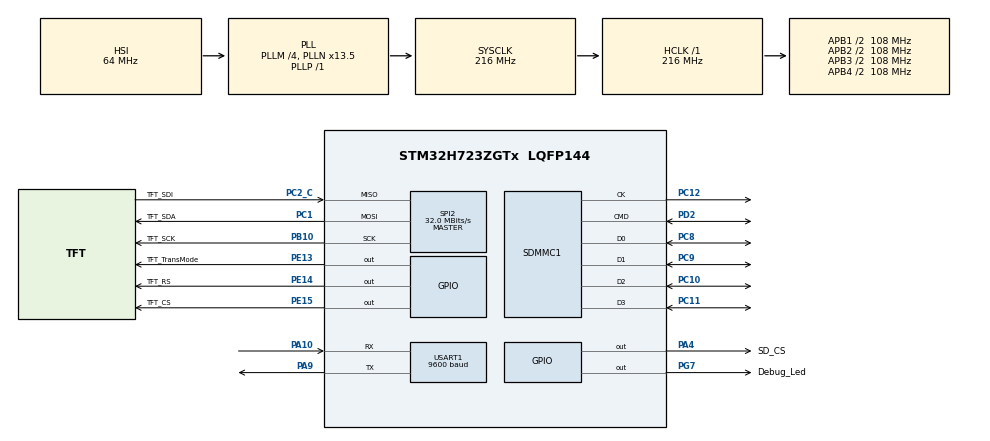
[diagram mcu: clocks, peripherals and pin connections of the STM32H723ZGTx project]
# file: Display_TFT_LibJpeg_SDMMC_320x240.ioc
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CORTEX_M7.default_mode_Activation=1
DMA2D.ColorMode=DMA2D_OUTPUT_RGB565
DMA2D.InputColorModeForeground=DMA2D_INPUT_RGB888
DMA2D.Mode=DMA2D_M2M_PFC
DMA2D.RedBlueSwapForeground=DMA2D_RB_REGULAR
Dma.Request0=SPI2_TX
Dma.SPI2_TX.0.Direction=DMA_MEMORY_TO_PERIPH
Dma.SPI2_TX.0.EventEnable=DISABLE
Dma.SPI2_TX.0.FIFOMode=DMA_FIFOMODE_DISABLE
Dma.SPI2_TX.0.Instance=DMA1_Stream3
Dma.SPI2_TX.0.MemDataAlignment=DMA_MDATAALIGN_BYTE
Dma.SPI2_TX.0.MemInc=DMA_MINC_ENABLE
Dma.SPI2_TX.0.Mode=DMA_NORMAL
Dma.SPI2_TX.0.PeriphDataAlignment=DMA_PDATAALIGN_BYTE
Dma.SPI2_TX.0.PeriphInc=DMA_PINC_DISABLE
Dma.SPI2_TX.0.Polarity=HAL_DMAMUX_REQ_GEN_RISING
Dma.SPI2_TX.0.Priority=DMA_PRIORITY_LOW
Dma.SPI2_TX.0.RequestNumber=1
Dma.SPI2_TX.0.SignalID=NONE
Dma.SPI2_TX.0.SyncEnable=DISABLE
Dma.SPI2_TX.0.SyncPolarity=HAL_DMAMUX_SYNC_NO_EVENT
Dma.SPI2_TX.0.SyncRequestNumber=1
Dma.SPI2_TX.0.SyncSignalID=NONE
FATFS._FS_TIMEOUT=10000
FATFS._MAX_SS=4096
FATFS._MULTI_PARTITION=0
FATFS._USE_CHMOD=0
FATFS._USE_LABEL=1
FATFS._USE_LFN=3
LIBJPEG.RGB_ORDERING=BGR
Mcu.Family=STM32H7
Mcu.Name=STM32H723ZGTx
Mcu.Package=LQFP144
NVIC.DMA1_Stream3_IRQn=true\:0\:0\:false\:false\:true\:false\:true\:true
NVIC.PriorityGroup=NVIC_PRIORITYGROUP_4
NVIC.SDMMC1_IRQn=true\:0\:0\:false\:false\:true\:true\:true\:true
NVIC.SPI2_IRQn=true\:0\:0\:false\:false\:true\:false\:true\:true
PA10.Mode=Asynchronous
PA10.Signal=USART1_RX
PA13(JTMS/SWDIO).Mode=Serial_Wire
PA13(JTMS/SWDIO).Signal=DEBUG_JTMS-SWDIO
PA14(JTCK/SWCLK).Mode=Serial_Wire
PA14(JTCK/SWCLK).Signal=DEBUG_JTCK-SWCLK
PA4.GPIO_Label=SD_CS
PA4.PinState=GPIO_PIN_SET
PA4.Signal=GPIO_Output
PA9.Mode=Asynchronous
PA9.Signal=USART1_TX
PB10.GPIO_Label=TFT_SCK
PB10.Mode=Full_Duplex_Master
PB10.Signal=SPI2_SCK
PC1.GPIO_Label=TFT_SDA
PC1.Mode=Full_Duplex_Master
PC1.Signal=SPI2_MOSI
PC10.Mode=SD_4_bits_Wide_bus
PC10.Signal=SDMMC1_D2
PC11.Mode=SD_4_bits_Wide_bus
PC11.Signal=SDMMC1_D3
PC12.Mode=SD_4_bits_Wide_bus
PC12.Signal=SDMMC1_CK
PC2_C.GPIO_Label=TFT_SDI
PC2_C.Mode=Full_Duplex_Master
PC2_C.Signal=SPI2_MISO
PC8.Mode=SD_4_bits_Wide_bus
PC8.Signal=SDMMC1_D0
PC9.Mode=SD_4_bits_Wide_bus
PC9.Signal=SDMMC1_D1
PD2.Mode=SD_4_bits_Wide_bus
PD2.Signal=SDMMC1_CMD
PE13.GPIO_Label=TFT_TransMode
PE13.Signal=GPIO_Output
PE14.GPIO_Label=TFT_RS
PE14.Signal=GPIO_Output
PE15.GPIO_Label=TFT_CS
PE15.Signal=GPIO_Output
PG7.GPIO_Label=Debug_Led
PG7.Signal=GPIO_Output
PH0-OSC_IN.Mode=HSE-External-Oscillator
PH0-OSC_IN.Signal=RCC_OSC_IN
PH1-OSC_OUT.Mode=HSE-External-Oscillator
PH1-OSC_OUT.Signal=RCC_OSC_OUT
ProjectManager.HeapSize=0x200
ProjectManager.StackSize=0x400
ProjectManager.TargetToolchain=STM32CubeIDE
RCC.ADCFreq_Value=96000000
RCC.APB1Freq_Value=108000000
RCC.APB2Freq_Value=108000000
RCC.APB3Freq_Value=108000000
RCC.APB4Freq_Value=108000000
RCC.CortexFreq_Value=216000000
RCC.D1PPRE=RCC_APB3_DIV2
RCC.D2PPRE1=RCC_APB1_DIV2
RCC.D2PPRE2=RCC_APB2_DIV2
RCC.D3PPRE=RCC_APB4_DIV2
RCC.DIVM1=4
RCC.DIVM2=4
RCC.DIVM3=4
RCC.DIVN1=13
RCC.DIVN2=12
RCC.DIVN3=12
RCC.DIVP1=1
RCC.DIVQ1=6
RCC.DIVR2=1
RCC.HCLKFreq_Value=216000000
RCC.PLL2FRACN=0
RCC.PLL3FRACN=0
RCC.PLLFRACN=4096
RCC.SPI123CLockSelection=RCC_SPI123CLKSOURCE_CLKP
RCC.SYSCLKFreq_VALUE=216000000
RCC.SYSCLKSource=RCC_SYSCLKSOURCE_PLLCLK
RCC.USBFreq_Value=36000000
SDMMC1.ClockDiv=3
SPI2.BaudRatePrescaler=SPI_BAUDRATEPRESCALER_2
SPI2.CalculateBaudRate=32.0 MBits/s
SPI2.DataSize=SPI_DATASIZE_8BIT
SPI2.Direction=SPI_DIRECTION_2LINES
SPI2.FirstBit=SPI_FIRSTBIT_MSB
SPI2.Mode=SPI_MODE_MASTER
SPI2.NSSPMode=SPI_NSS_PULSE_DISABLE
SPI2.VirtualType=VM_MASTER
USART1.BaudRate=9600
USART1.VirtualMode-Asynchronous=VM_ASYNC
VP_DMA2D_VS_DMA2D.Mode=DMA2D_Activate
VP_FATFS_VS_Generic.Mode=User_defined
VP_FATFS_VS_SDIO.Mode=SDIO
VP_LIBJPEG_VS_JPEGLIB.Mode=Enabled
VP_MEMORYMAP_VS_MEMORYMAP.Mode=CurAppReg
board=custom

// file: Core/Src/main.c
/* USER CODE BEGIN Header */
/**
 ******************************************************************************
 * @file           : main.c
 * @brief          : Main program body
 ******************************************************************************
 * @attention
 *
 * Copyright (c) 2025 STMicroelectronics.
 * All rights reserved.
 *
 * This software is licensed under terms that can be found in the LICENSE file
 * in the root directory of this software component.
 * If no LICENSE file comes with this software, it is provided AS-IS.
 *
 ******************************************************************************
 */
/* USER CODE END Header */
#include "main.h"
#include "fatfs.h"
#include "libjpeg.h"

/* USER CODE BEGIN Includes */
#include <setjmp.h>
#include "display.h"
#include "sdio_functions.h"
/* USER CODE END Includes */

DMA2D_HandleTypeDef hdma2d;

SD_HandleTypeDef hsd1;

SPI_HandleTypeDef hspi2;
DMA_HandleTypeDef hdma_spi2_tx;

UART_HandleTypeDef huart1;

/* USER CODE BEGIN PV */
uint8_t IsPlayingContent = 0;
extern uint16_t frame_buffer[240][320];

extern int dma_tx_done_spi2;
extern int dma_rx_done_spi2;

/* USER CODE END PV */

void SystemClock_Config(void);
void PeriphCommonClock_Config(void);
static void MPU_Config(void);
static void MX_GPIO_Init(void);
static void MX_DMA_Init(void);
static void MX_SPI2_Init(void);
static void MX_SDMMC1_SD_Init(void);
static void MX_USART1_UART_Init(void);
static void MX_DMA2D_Init(void);

/* USER CODE BEGIN 0 */
///////HARDWARE LIBJPEG
struct my_error_mgr {
	struct jpeg_error_mgr pub; /* "public" fields */

	jmp_buf setjmp_buffer; /* for return to caller */
};

typedef struct my_error_mgr *my_error_ptr;

/*
 * Here's the routine that will replace the standard error_exit method:
 */

METHODDEF(void) my_error_exit(j_common_ptr cinfo) {
	/* cinfo->err really points to a my_error_mgr struct, so coerce pointer */
	my_error_ptr myerr = (my_error_ptr) cinfo->err;

	/* Always display the message. */
	/* We could postpone this until after returning, if we chose. */
	(*cinfo->err->output_message)(cinfo);

	/* Return control to the setjmp point */
	longjmp(myerr->setjmp_buffer, 1);
}

GLOBAL(int) read_JPEG_file(char *filename) {
	struct jpeg_decompress_struct cinfo;
	struct my_error_mgr jerr;
	/* More stuff */
	FIL infile; /* source file */
	JSAMPARRAY buffer; /* Output row buffer */
	int row_stride; /* physical row width in output buffer */

	if ((f_open(&infile, filename, FA_READ)) != FR_OK) {
		//fprintf(stderr, "can't open %s\n", filename);
		return 0;
	}

	/* Step 1: allocate and initialize JPEG decompression object */

	cinfo.err = jpeg_std_error(&jerr.pub);
	jerr.pub.error_exit = my_error_exit;

	if (setjmp(jerr.setjmp_buffer)) {

		jpeg_destroy_decompress(&cinfo);
		f_close(&infile);
		return 0;
	}

	jpeg_create_decompress(&cinfo);

	/* Step 2: specify data source (eg, a file) */

	jpeg_stdio_src(&cinfo, &infile);

	/* Step 3: read file parameters with jpeg_read_header() */

	(void) jpeg_read_header(&cinfo, TRUE);

	/* Step 4: set parameters for decompression */
	/* Step 5: Start decompressor */

	(void) jpeg_start_decompress(&cinfo);

	row_stride = cinfo.output_width * cinfo.output_components;

	buffer = (*cinfo.mem->alloc_sarray)((j_common_ptr) &cinfo, JPOOL_IMAGE,
			row_stride, 1);

	/* Step 6: while (scan lines remain to be read) */
	/*           jpeg_read_scanlines(...); */
	uint16_t line = 0;
	HAL_StatusTypeDef status;
	while (cinfo.output_scanline < cinfo.output_height) {

		(void) jpeg_read_scanlines(&cinfo, buffer, 1);
		//put_scanline_someplace(buffer[0], row_stride);
		HAL_DMA2D_Start(&hdma2d, (uint32_t) buffer[0], frame_buffer[line], 320, 1);
		for (int i = 0; i < 320; i++) {
			frame_buffer[line][i]   =  __REV16(frame_buffer[line][i]);
		}

		HAL_DMA2D_PollForTransfer(&hdma2d, HAL_MAX_DELAY);

		line++;
	}

	/* Step 7: Finish decompression */

	(void) jpeg_finish_decompress(&cinfo);

	/* Step 8: Release JPEG decompression object */

	jpeg_destroy_decompress(&cinfo);

	f_close(&infile);

	return 1;
}

////////////////////////////////////
int _write(int fd, unsigned char *buf, int len) {
	if (fd == 1 || fd == 2) {                              // stdout or stderr ?
		HAL_UART_Transmit(&huart1, buf, len, 999); // Print to the UART
	}
	return len;
}
uint32_t FPS = 0;
/* USER CODE END 0 */

int main(void)
{

  /* USER CODE BEGIN 1 */
	FIL video_f;
	UINT br;
	uint32_t frame_num = 0;
	//for(int i = 0; i < 240 ; i++){
	//}
  /* USER CODE END 1 */

  /* MPU Configuration--------------------------------------------------------*/
  MPU_Config();

  /* MCU Configuration--------------------------------------------------------*/

  /* Reset of all peripherals, Initializes the Flash interface and the Systick. */
  HAL_Init();

  /* Configure the system clock */
  SystemClock_Config();

  /* Configure the peripherals common clocks */
  PeriphCommonClock_Config();

  /* Initialize all configured peripherals */
  MX_GPIO_Init();
  MX_DMA_Init();
  MX_FATFS_Init();
  MX_SPI2_Init();
  MX_LIBJPEG_Init();
  MX_SDMMC1_SD_Init();
  MX_USART1_UART_Init();
  MX_DMA2D_Init();
  /* USER CODE BEGIN 2 */
	LCD_Init(&hspi2, &IsPlayingContent, 1);
	LCD_AdjustGamma();
	LCD_FillScreen(0x0000, 320, 240);
	HAL_Delay(3000);
	//    sd_benchmark();
	uint32_t start_time = 0;
	uint32_t end_time = 0;
	uint32_t period = 0;
	char file_name[100];
	while (1) {
		if (sd_mount() == FR_OK) {
			break;
		}
	}

#define JPEG

#ifdef VIDEO_1
	while (1) {
		if (f_open(&video_f, "family_guy_rgb565_120s_be_320x240.rgb", FA_READ)
				== FR_OK) {
			break;
		}
	}
	while (1) {
		start_time = HAL_GetTick();
		if (!Raw_play_video(&video_f, &frame_num)) {
			HAL_Delay(2000);
			FillScreen(0xf800, 320, 240);
			f_close(&video_f);
			while (1) {
				if (f_open(&video_f, "family_guy_rgb565_120s_be_320x240.rgb",
						FA_READ) == FR_OK) {
					break;
				}
			}
			frame_num = 0;
			// break;
		}
		end_time = HAL_GetTick();
		period = end_time - start_time;
		FPS = 1000 / period;
	}
#endif

#ifdef VIDEO_2
    uint8_t t = 200;
    while (1)
    {
        if (f_open(&video_f, "FamilyGuy_noAudio.avi", FA_READ) == FR_OK)
        {
            break;
        }
    }
    while (1)
    {
        start_time = HAL_GetTick();
        AVI_video_display(&video_f);
        end_time = HAL_GetTick();
        period = end_time - start_time;
        FPS = 1000 / period;
    }
#endif

#if DISPLAY_BMP_888
    Display_BMP_picture("image1_rgb888le_320x240.bmp");
#endif

#ifdef JPEG

	uint8_t image_id = 1;
	sprintf(file_name, "image%d_320x240.jpg", image_id);

#endif
//	sd_unmount();
  /* USER CODE END 2 */

  /* Infinite loop */
  /* USER CODE BEGIN WHILE */
	while (1) {
#ifdef JPEG
		sprintf(file_name, "image%d_320x240.jpg", image_id);
//		start_time = HAL_GetTick();
		// Software decompress
        LCD_DisplayJPEG(file_name);
//		end_time = HAL_GetTick();
//		period = end_time - start_time;
//		printf("Software JPG decode: %d, \n", period);
//		start_time = 0;
//		end_time = 0;
//		period = 0;
//        // Hardware decompress
//		start_time = HAL_GetTick();
//    	read_JPEG_file(file_name);
//    	LCD_DrawPixData(0, 0, 320, 240, &frame_buffer[0][0]);
//		end_time = HAL_GetTick();
//		period = end_time - start_time;
//		printf("Hardware JPG decode: %d\n", period);

        image_id++;
        if (image_id == 11)
        {
            image_id = 1;
        }
		start_time = 0;
		end_time = 0;
		period = 0;
        HAL_Delay(3000);
#endif
    /* USER CODE END WHILE */

	}
}

void SystemClock_Config(void)
{
  RCC_OscInitTypeDef RCC_OscInitStruct = {0};
  RCC_ClkInitTypeDef RCC_ClkInitStruct = {0};

  /** Supply configuration update enable
  */
  HAL_PWREx_ConfigSupply(PWR_LDO_SUPPLY);

  /** Configure the main internal regulator output voltage
  */
  __HAL_PWR_VOLTAGESCALING_CONFIG(PWR_REGULATOR_VOLTAGE_SCALE0);

  while(!__HAL_PWR_GET_FLAG(PWR_FLAG_VOSRDY)) {}

  /** Initializes the RCC Oscillators according to the specified parameters
  * in the RCC_OscInitTypeDef structure.
  */
  RCC_OscInitStruct.OscillatorType = RCC_OSCILLATORTYPE_HSI;
  RCC_OscInitStruct.HSIState = RCC_HSI_DIV1;
  RCC_OscInitStruct.HSICalibrationValue = 64;
  RCC_OscInitStruct.PLL.PLLState = RCC_PLL_ON;
  RCC_OscInitStruct.PLL.PLLSource = RCC_PLLSOURCE_HSI;
  RCC_OscInitStruct.PLL.PLLM = 4;
  RCC_OscInitStruct.PLL.PLLN = 13;
  RCC_OscInitStruct.PLL.PLLP = 1;
  RCC_OscInitStruct.PLL.PLLQ = 6;
  RCC_OscInitStruct.PLL.PLLR = 2;
  RCC_OscInitStruct.PLL.PLLRGE = RCC_PLL1VCIRANGE_3;
  RCC_OscInitStruct.PLL.PLLVCOSEL = RCC_PLL1VCOWIDE;
  RCC_OscInitStruct.PLL.PLLFRACN = 4096;
  if (HAL_RCC_OscConfig(&RCC_OscInitStruct) != HAL_OK)
  {
    Error_Handler();
  }

  /** Initializes the CPU, AHB and APB buses clocks
  */
  RCC_ClkInitStruct.ClockType = RCC_CLOCKTYPE_HCLK|RCC_CLOCKTYPE_SYSCLK
                              |RCC_CLOCKTYPE_PCLK1|RCC_CLOCKTYPE_PCLK2
                              |RCC_CLOCKTYPE_D3PCLK1|RCC_CLOCKTYPE_D1PCLK1;
  RCC_ClkInitStruct.SYSCLKSource = RCC_SYSCLKSOURCE_PLLCLK;
  RCC_ClkInitStruct.SYSCLKDivider = RCC_SYSCLK_DIV1;
  RCC_ClkInitStruct.AHBCLKDivider = RCC_HCLK_DIV1;
  RCC_ClkInitStruct.APB3CLKDivider = RCC_APB3_DIV2;
  RCC_ClkInitStruct.APB1CLKDivider = RCC_APB1_DIV2;
  RCC_ClkInitStruct.APB2CLKDivider = RCC_APB2_DIV2;
  RCC_ClkInitStruct.APB4CLKDivider = RCC_APB4_DIV2;

  if (HAL_RCC_ClockConfig(&RCC_ClkInitStruct, FLASH_LATENCY_3) != HAL_OK)
  {
    Error_Handler();
  }
}

void PeriphCommonClock_Config(void)
{
  RCC_PeriphCLKInitTypeDef PeriphClkInitStruct = {0};

  /** Initializes the peripherals clock
  */
  PeriphClkInitStruct.PeriphClockSelection = RCC_PERIPHCLK_CKPER;
  PeriphClkInitStruct.CkperClockSelection = RCC_CLKPSOURCE_HSI;
  if (HAL_RCCEx_PeriphCLKConfig(&PeriphClkInitStruct) != HAL_OK)
  {
    Error_Handler();
  }
}

static void MX_DMA2D_Init(void)
{

  hdma2d.Instance = DMA2D;
  hdma2d.Init.Mode = DMA2D_M2M_PFC;
  hdma2d.Init.ColorMode = DMA2D_OUTPUT_RGB565;
  hdma2d.Init.OutputOffset = 0;
  hdma2d.LayerCfg[1].InputOffset = 0;
  hdma2d.LayerCfg[1].InputColorMode = DMA2D_INPUT_RGB888;
  hdma2d.LayerCfg[1].AlphaMode = DMA2D_NO_MODIF_ALPHA;
  hdma2d.LayerCfg[1].InputAlpha = 0;
  hdma2d.LayerCfg[1].AlphaInverted = DMA2D_REGULAR_ALPHA;
  hdma2d.LayerCfg[1].RedBlueSwap = DMA2D_RB_REGULAR;
  hdma2d.LayerCfg[1].ChromaSubSampling = DMA2D_NO_CSS;
  if (HAL_DMA2D_Init(&hdma2d) != HAL_OK)
  {
    Error_Handler();
  }
  if (HAL_DMA2D_ConfigLayer(&hdma2d, 1) != HAL_OK)
  {
    Error_Handler();
  }

}

static void MX_SDMMC1_SD_Init(void)
{

  hsd1.Instance = SDMMC1;
  hsd1.Init.ClockEdge = SDMMC_CLOCK_EDGE_RISING;
  hsd1.Init.ClockPowerSave = SDMMC_CLOCK_POWER_SAVE_DISABLE;
  hsd1.Init.BusWide = SDMMC_BUS_WIDE_4B;
  hsd1.Init.HardwareFlowControl = SDMMC_HARDWARE_FLOW_CONTROL_DISABLE;
  hsd1.Init.ClockDiv = 3;
  if (HAL_SD_Init(&hsd1) != HAL_OK)
  {
    Error_Handler();
  }

}

static void MX_SPI2_Init(void)
{

  /* SPI2 parameter configuration*/
  hspi2.Instance = SPI2;
  hspi2.Init.Mode = SPI_MODE_MASTER;
  hspi2.Init.Direction = SPI_DIRECTION_2LINES;
  hspi2.Init.DataSize = SPI_DATASIZE_8BIT;
  hspi2.Init.CLKPolarity = SPI_POLARITY_LOW;
  hspi2.Init.CLKPhase = SPI_PHASE_1EDGE;
  hspi2.Init.NSS = SPI_NSS_SOFT;
  hspi2.Init.BaudRatePrescaler = SPI_BAUDRATEPRESCALER_2;
  hspi2.Init.FirstBit = SPI_FIRSTBIT_MSB;
  hspi2.Init.TIMode = SPI_TIMODE_DISABLE;
  hspi2.Init.CRCCalculation = SPI_CRCCALCULATION_DISABLE;
  hspi2.Init.CRCPolynomial = 0x0;
  hspi2.Init.NSSPMode = SPI_NSS_PULSE_DISABLE;
  hspi2.Init.NSSPolarity = SPI_NSS_POLARITY_LOW;
  hspi2.Init.FifoThreshold = SPI_FIFO_THRESHOLD_01DATA;
  hspi2.Init.TxCRCInitializationPattern = SPI_CRC_INITIALIZATION_ALL_ZERO_PATTERN;
  hspi2.Init.RxCRCInitializationPattern = SPI_CRC_INITIALIZATION_ALL_ZERO_PATTERN;
  hspi2.Init.MasterSSIdleness = SPI_MASTER_SS_IDLENESS_00CYCLE;
  hspi2.Init.MasterInterDataIdleness = SPI_MASTER_INTERDATA_IDLENESS_00CYCLE;
  hspi2.Init.MasterReceiverAutoSusp = SPI_MASTER_RX_AUTOSUSP_DISABLE;
  hspi2.Init.MasterKeepIOState = SPI_MASTER_KEEP_IO_STATE_DISABLE;
  hspi2.Init.IOSwap = SPI_IO_SWAP_DISABLE;
  if (HAL_SPI_Init(&hspi2) != HAL_OK)
  {
    Error_Handler();
  }

}

static void MX_USART1_UART_Init(void)
{

  huart1.Instance = USART1;
  huart1.Init.BaudRate = 9600;
  huart1.Init.WordLength = UART_WORDLENGTH_8B;
  huart1.Init.StopBits = UART_STOPBITS_1;
  huart1.Init.Parity = UART_PARITY_NONE;
  huart1.Init.Mode = UART_MODE_TX_RX;
  huart1.Init.HwFlowCtl = UART_HWCONTROL_NONE;
  huart1.Init.OverSampling = UART_OVERSAMPLING_16;
  huart1.Init.OneBitSampling = UART_ONE_BIT_SAMPLE_DISABLE;
  huart1.Init.ClockPrescaler = UART_PRESCALER_DIV1;
  huart1.AdvancedInit.AdvFeatureInit = UART_ADVFEATURE_NO_INIT;
  if (HAL_UART_Init(&huart1) != HAL_OK)
  {
    Error_Handler();
  }
  if (HAL_UARTEx_SetTxFifoThreshold(&huart1, UART_TXFIFO_THRESHOLD_1_8) != HAL_OK)
  {
    Error_Handler();
  }
  if (HAL_UARTEx_SetRxFifoThreshold(&huart1, UART_RXFIFO_THRESHOLD_1_8) != HAL_OK)
  {
    Error_Handler();
  }
  if (HAL_UARTEx_DisableFifoMode(&huart1) != HAL_OK)
  {
    Error_Handler();
  }

}

static void MX_DMA_Init(void)
{

  /* DMA controller clock enable */
  __HAL_RCC_DMA1_CLK_ENABLE();

  /* DMA interrupt init */
  /* DMA1_Stream3_IRQn interrupt configuration */
  HAL_NVIC_SetPriority(DMA1_Stream3_IRQn, 0, 0);
  HAL_NVIC_EnableIRQ(DMA1_Stream3_IRQn);

}

static void MX_GPIO_Init(void)
{
  GPIO_InitTypeDef GPIO_InitStruct = {0};

  /* GPIO Ports Clock Enable */
  __HAL_RCC_GPIOH_CLK_ENABLE();
  __HAL_RCC_GPIOC_CLK_ENABLE();
  __HAL_RCC_GPIOA_CLK_ENABLE();
  __HAL_RCC_GPIOE_CLK_ENABLE();
  __HAL_RCC_GPIOB_CLK_ENABLE();
  __HAL_RCC_GPIOG_CLK_ENABLE();
  __HAL_RCC_GPIOD_CLK_ENABLE();

  /*Configure GPIO pin Output Level */
  HAL_GPIO_WritePin(SD_CS_GPIO_Port, SD_CS_Pin, GPIO_PIN_SET);

  /*Configure GPIO pin Output Level */
  HAL_GPIO_WritePin(GPIOE, TFT_TransMode_Pin|TFT_RS_Pin|TFT_CS_Pin, GPIO_PIN_RESET);

  /*Configure GPIO pin Output Level */
  HAL_GPIO_WritePin(Debug_Led_GPIO_Port, Debug_Led_Pin, GPIO_PIN_RESET);

  /*Configure GPIO pin : SD_CS_Pin */
  GPIO_InitStruct.Pin = SD_CS_Pin;
  GPIO_InitStruct.Mode = GPIO_MODE_OUTPUT_PP;
  GPIO_InitStruct.Pull = GPIO_NOPULL;
  GPIO_InitStruct.Speed = GPIO_SPEED_FREQ_LOW;
  HAL_GPIO_Init(SD_CS_GPIO_Port, &GPIO_InitStruct);

  /*Configure GPIO pins : TFT_TransMode_Pin TFT_RS_Pin TFT_CS_Pin */
  GPIO_InitStruct.Pin = TFT_TransMode_Pin|TFT_RS_Pin|TFT_CS_Pin;
  GPIO_InitStruct.Mode = GPIO_MODE_OUTPUT_PP;
  GPIO_InitStruct.Pull = GPIO_NOPULL;
  GPIO_InitStruct.Speed = GPIO_SPEED_FREQ_LOW;
  HAL_GPIO_Init(GPIOE, &GPIO_InitStruct);

  /*Configure GPIO pin : Debug_Led_Pin */
  GPIO_InitStruct.Pin = Debug_Led_Pin;
  GPIO_InitStruct.Mode = GPIO_MODE_OUTPUT_PP;
  GPIO_InitStruct.Pull = GPIO_NOPULL;
  GPIO_InitStruct.Speed = GPIO_SPEED_FREQ_LOW;
  HAL_GPIO_Init(Debug_Led_GPIO_Port, &GPIO_InitStruct);

}

 /* MPU Configuration */

void MPU_Config(void)
{
  MPU_Region_InitTypeDef MPU_InitStruct = {0};

  /* Disables the MPU */
  HAL_MPU_Disable();

  /** Initializes and configures the Region and the memory to be protected
  */
  MPU_InitStruct.Enable = MPU_REGION_ENABLE;
  MPU_InitStruct.Number = MPU_REGION_NUMBER0;
  MPU_InitStruct.BaseAddress = 0x0;
  MPU_InitStruct.Size = MPU_REGION_SIZE_4GB;
  MPU_InitStruct.SubRegionDisable = 0x87;
  MPU_InitStruct.TypeExtField = MPU_TEX_LEVEL0;
  MPU_InitStruct.AccessPermission = MPU_REGION_NO_ACCESS;
  MPU_InitStruct.DisableExec = MPU_INSTRUCTION_ACCESS_DISABLE;
  MPU_InitStruct.IsShareable = MPU_ACCESS_SHAREABLE;
  MPU_InitStruct.IsCacheable = MPU_ACCESS_NOT_CACHEABLE;
  MPU_InitStruct.IsBufferable = MPU_ACCESS_NOT_BUFFERABLE;

  HAL_MPU_ConfigRegion(&MPU_InitStruct);
  /* Enables the MPU */
  HAL_MPU_Enable(MPU_PRIVILEGED_DEFAULT);

}

void Error_Handler(void)
{
	__disable_irq();
	while (1) {
	}
}
